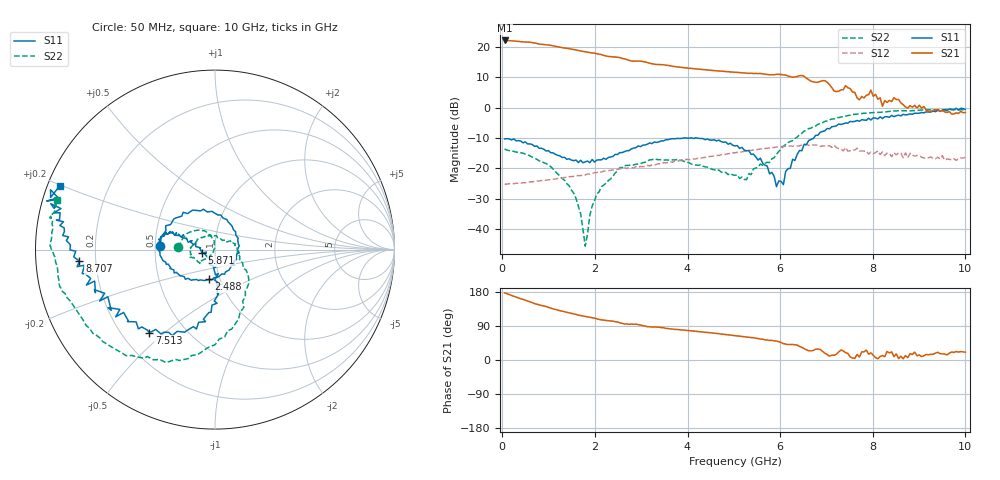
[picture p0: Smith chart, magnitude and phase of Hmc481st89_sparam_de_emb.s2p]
# MHZ S MA R 50
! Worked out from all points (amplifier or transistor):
!   201 points, 50 MHz to 10 GHz, reference 50 ohm
!   highest |S21| = 22.1 dB at 50 MHz (marker M1)
!   |S21| within 3 dB of that: start of sweep to 1.545 GHz
!   unconditionally stable (mu >= 1): start of sweep to 565.1 MHz; 757.5 MHz to 5.947 GHz; 6.154 GHz to 6.196 GHz (the widest 3 of 4)
!   at 1.692 GHz: K = 1.08, MAG = 18.8 dB, |S12| = -22.4 dB
!   at 5.025 GHz: K = 1.04, MAG = 12.1 dB, |S12| = -14.9 dB
!   at 10 GHz: K = 0.40, MSG = 7.4 dB, |S12| = -16.4 dB
!   S11 on the Smith chart (normalised r, x): 50 MHz: 0.53, +0.02; 2.488 GHz: 0.89, -0.30; 5.871 GHz: 0.87, -0.03; 7.513 GHz: 0.31, -0.45; 8.707 GHz: 0.14, -0.04; 10 GHz: 0.03, +0.20
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50  0.306 176.2  12.72 177.1  0.055 0.8  0.208 176.3
348.5  0.286 143.6  12.28 164.0  0.057 11.3  0.185 154.6
696.75  0.23 110.3  11.56 148.9  0.061 20.8  0.148 133.2
1144.5  0.171 64.8  10.21 133.2  0.067 30.9  0.089 111.6
1741.5  0.124 -10.9  8.403 115.9  0.078 42.5  0.01 96.2
2487.75  0.169 -101.2  6.731 100.2  0.096 50.3  0.091 -139.5
2637  0.188 -116.0  6.343 95.1  0.102 53.3  0.111 -139.6
3383.25  0.273 -162.8  5.102 86.5  0.119 58.9  0.139 -164.4
5025  0.234 156.4  3.814 64.6  0.18 62.4  0.077 93.7
5870.75  0.074 -164.5  3.463 50.5  0.221 56.1  0.15 -24.3
6467.75  0.195 -86.6  3.38 33.3  0.241 46.8  0.377 -68.3
6716.5  0.31 -93.1  2.654 25.3  0.241 42.6  0.49 -83.7
6965.25  0.415 -102.7  2.779 18.0  0.233 37.6  0.593 -99.3
7064.75  0.446 -105.7  2.395 10.0  0.236 34.5  0.626 -103.9
7263.75  0.536 -116.4  1.858 21.1  0.212 34.2  0.685 -116.7
7512.5  0.591 -128.3  2.059 8.0  0.195 33.8  0.749 -128.0
7711.5  0.596 -137.5  1.344 7.9  0.194 34.6  0.794 -137.4
7960.25  0.626 -147.9  1.935 18.8  0.185 36.2  0.825 -145.6
8109.5  0.652 -156.2  1.375 3.4  0.194 37.2  0.833 -151.9
8358.25  0.693 -165.3  1.314 18.8  0.175 32.1  0.867 -162.1
8706.5  0.758 -175.0  1.022 11.6  0.179 38.5  0.887 -170.2
10000  0.935 157.7  0.834 20.6  0.152 47.5  0.924 162.6
